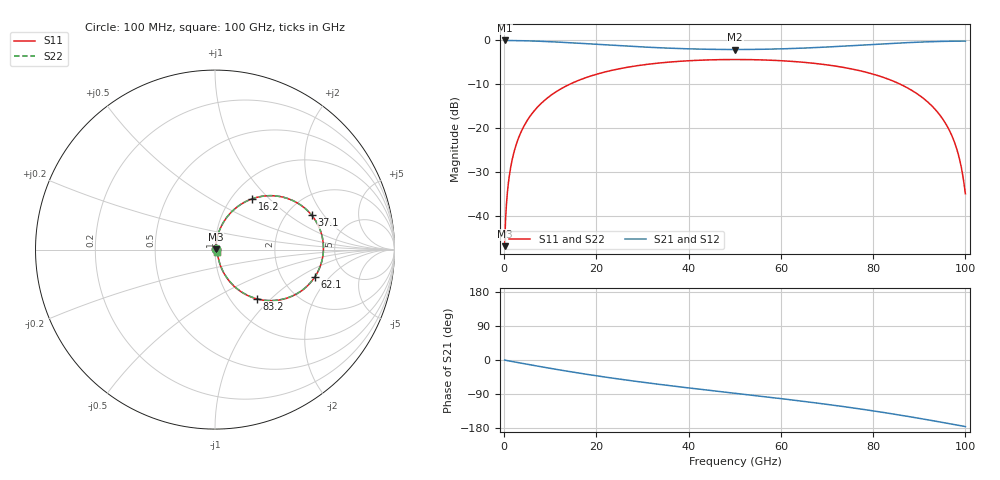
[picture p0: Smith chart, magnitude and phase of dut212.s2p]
! Touchstone file exported from HFSS 2026.1.0
!  File:  C:/ffzhzh/LocalFiles/Ansys_Project_Files/temp_train_RDL_212_1783500867_41296.aedt
!  Generated:  04:55:44 PM Jul  8, 2026
!  Design:  RDL
!  Project:  temp_train_RDL_212_1783500867_41296
! Variables:
!  h_bsmrdl = 2um
!  h_ox = 20um
!  h_rdl = 5um
!  h_sub = 80um
!  h_tmrdl = 3um
!  h_tsv = 80um
!  h_via = 3um
!  l_bsmrdl = 300um
!  l_sub = 981.02um
!  l_tmrdl = 581.02um
!  m_sub = 200um
!  pitch = 50.1um
!  r_tsv = 6um
!  s_tmrdl = 10um
!  w_bsmrdl = 18um
!  w_sub = 500um
!  w_tmrdl = 19.94um
!  x_tsv_center1 = 590.99um
!  x_tsv_center2 = 908.99um
!  x_tsv_center3 = 1509.95um
!  x_tsv_center4 = 1827.95um
!  x_tsv_center5 = 2428.91um
!  x_tsv_center6 = 2746.91um
# GHz S MA R 50.000000
! Terminal data exported
! Port[1] = TM_RDL1_1_T1
! Port[2] = TM_RDL1_1_T2
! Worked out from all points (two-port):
!   1000 points, 100 MHz to 100 GHz, reference 50 ohm
!   highest |S21| = -0.03 dB at 100 MHz (marker M1); lowest = -2.1 dB at 50.1 GHz (marker M2)
!   |S21| within 3 dB of the highest: start of sweep to end of sweep
!   lowest |S11| = -46.9 dB at 100 MHz (marker M3), VSWR 1.01, Z = 50.4 + j0.27 ohm
!   |S11| at or under -10 dB: start of sweep to 14.24 GHz; 85.87 GHz to end of sweep
!   |S22| runs from -46.9 to -4.4 dB; largest |S21 - S12| = 1.7e-14
!   S11 on the Smith chart (normalised r, x): 100 MHz: 1.01, +0.01; 16.2 GHz: 1.24, +0.80; 37.1 GHz: 2.70, +1.54; 62.1 GHz: 3.03, -1.39; 83.2 GHz: 1.32, -0.83; 100 GHz: 1.03, -0.02
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0.1  0.004509 36.4  0.9964 -0.2  0.9964 -0.2  0.004509 36.4
! Gamma 0 0 0 0
! Port Impedance 50 0 50 0
0.9  0.02316 76.9  0.9953 -2.1  0.9953 -2.1  0.02316 76.9
1.5  0.0377 79.5  0.9946 -3.4  0.9946 -3.4  0.0377 79.5
2.5  0.06206 79.7  0.9931 -5.7  0.9931 -5.7  0.06206 79.7
4  0.09826 77.8  0.9897 -9.0  0.9897 -9.0  0.09826 77.8
6.1  0.1476 73.8  0.9826 -13.7  0.9826 -13.7  0.1476 73.8
8.8  0.2079 68.4  0.9704 -19.5  0.9704 -19.5  0.2079 68.4
16.2  0.3506 53.8  0.9261 -34.5  0.9261 -34.5  0.3506 53.8
16.8  0.3606 52.7  0.9222 -35.6  0.9222 -35.6  0.3606 52.7
24.5  0.4686 39.1  0.872 -49.6  0.872 -49.6  0.4686 39.1
33.4  0.5499 25.0  0.8238 -63.9  0.8238 -63.9  0.5499 25.0
37.1  0.572 19.5  0.8089 -69.5  0.8089 -69.5  0.572 19.6
50.1  0.6044 1.4  0.7857 -87.9  0.7857 -87.9  0.6044 1.5
62.1  0.5768 -15.3  0.8055 -105.0  0.8055 -105.0  0.5768 -15.2
66.7  0.5503 -22.1  0.8231 -111.9  0.8231 -111.9  0.5503 -22.0
83.2  0.3623 -49.5  0.9165 -140.3  0.9165 -140.3  0.3622 -49.3
83.4  0.359 -49.8  0.9177 -140.6  0.9177 -140.6  0.3589 -49.6
90.2  0.2324 -62.3  0.9548 -154.4  0.9548 -154.4  0.2323 -62.1
95  0.1288 -70.0  0.9723 -164.6  0.9723 -164.6  0.1287 -69.7
97.9  0.06291 -70.4  0.9778 -171.0  0.9778 -171.0  0.06287 -70.0
98.8  0.04259 -66.7  0.9786 -173.0  0.9786 -173.0  0.04258 -66.2
100  0.01783 -41.9  0.9791 -175.6  0.9791 -175.6  0.01793 -41.0
